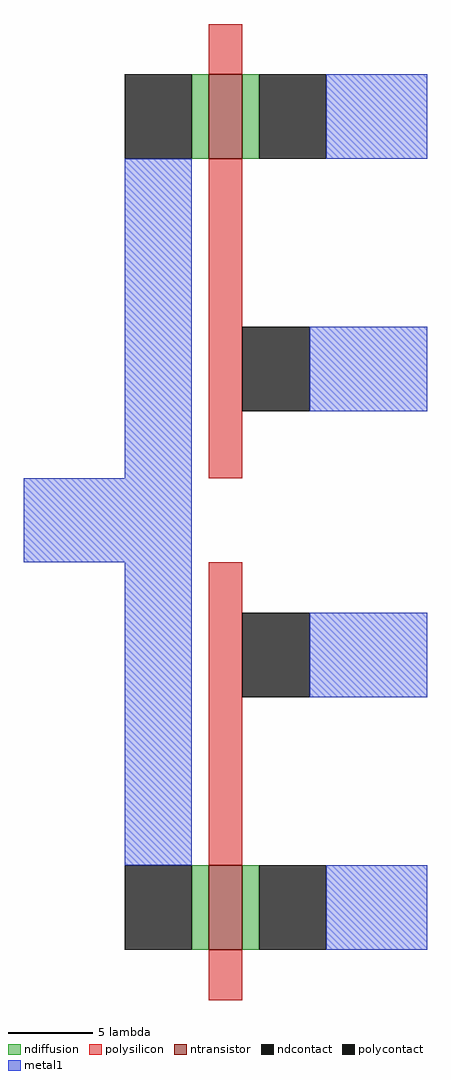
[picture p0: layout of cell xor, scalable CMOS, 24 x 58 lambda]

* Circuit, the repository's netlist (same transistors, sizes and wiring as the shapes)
* SPICE3 file created from xor.ext - technology: scmos

.option scale=0.09u

M1000 a_13_22# a_11_3# y Gnd nfet w=5 l=2
+  ad=25 pd=20 as=50 ps=40
M1001 a_13_n25# a_11_n28# y Gnd nfet w=5 l=2
+  ad=25 pd=20 as=0 ps=0

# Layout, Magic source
magic
tech scmos
<< ntransistor >>
rect 11 22 13 27
rect 11 -25 13 -20
<< ndiffusion >>
rect 10 22 11 27
rect 13 22 14 27
rect 10 -25 11 -20
rect 13 -25 14 -20
<< ndcontact >>
rect 6 22 10 27
rect 14 22 18 27
rect 6 -25 10 -20
rect 14 -25 18 -20
<< polysilicon >>
rect 11 27 13 30
rect 11 3 13 22
rect 11 -20 13 -2
rect 11 -28 13 -25
<< polycontact >>
rect 13 7 17 12
rect 13 -10 17 -5
<< metal1 >>
rect 18 22 24 27
rect 6 3 10 22
rect 17 7 24 12
rect 0 -2 10 3
rect 6 -20 10 -2
rect 17 -10 24 -5
rect 18 -25 24 -20
<< end >>
